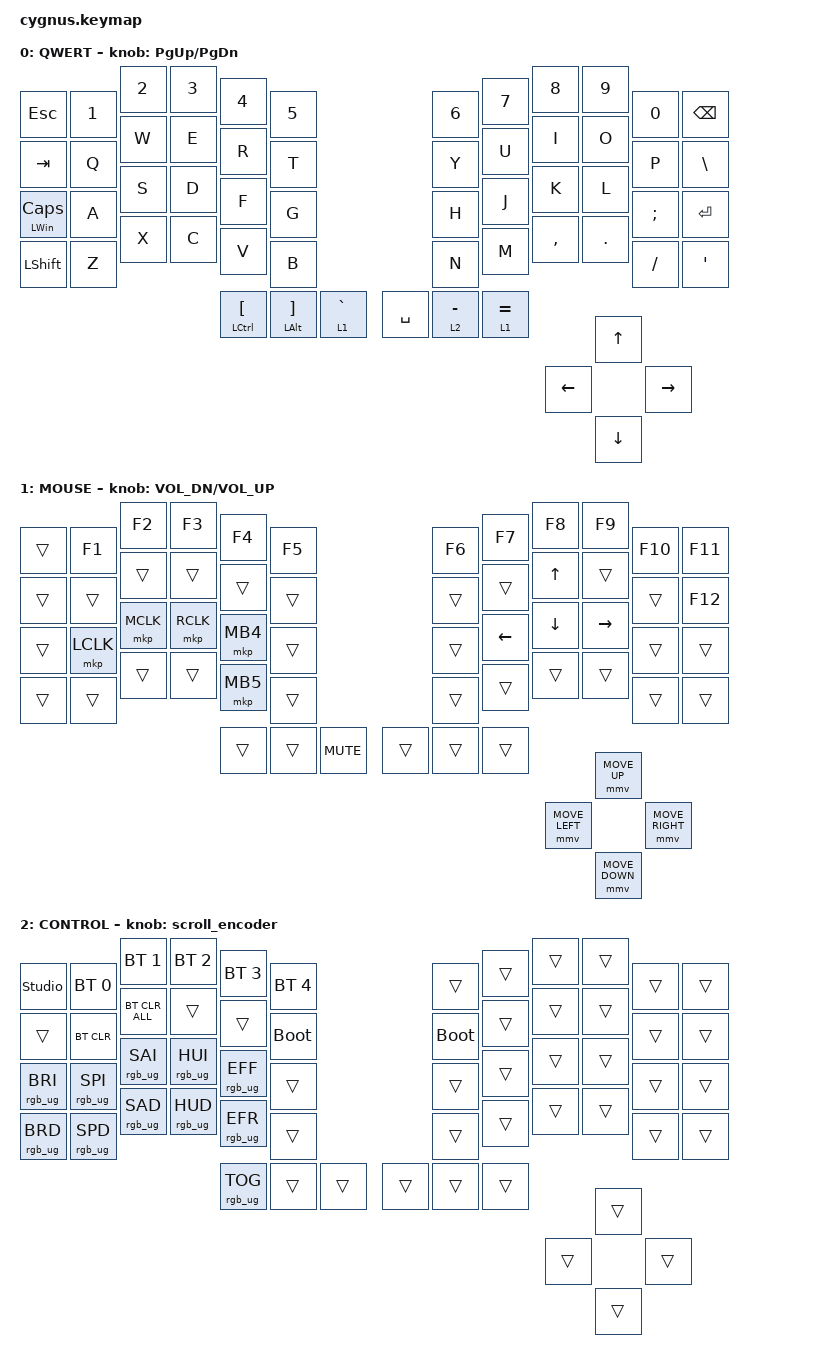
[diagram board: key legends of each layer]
#include <behaviors/mouse_keys.dtsi>
#include <dt-bindings/zmk/mouse.h>
#include <behaviors.dtsi>
#include <dt-bindings/zmk/bt.h>
#include <dt-bindings/zmk/keys.h>
#include <dt-bindings/zmk/pointing.h>
#include <dt-bindings/zmk/pointing.h>
#include <dt-bindings/zmk/pointing.h>
#include <dt-bindings/zmk/rgb.h>

#define ZMK_MOUSE_DEFAULT_MOVE_VAL 1200  // 600
#define ZMK_MOUSE_DEFAULT_SCRL_VAL 20    // 10
#define U_MS_U &mmv MOVE_UP
#define U_MS_D &mmv MOVE_DOWN
#define U_MS_L &mmv MOVE_LEFT
#define U_MS_R &mmv MOVE_RIGHT
#define ZMK_MOUSE_DEFAULT_MOVE_VAL 1200  //  600
#define ZMK_MOUSE_DEFAULT_SCRL_VAL 20    // 10

&lt {
    flavor = "tap-preferred";
    quick-tap-ms = <180>;
};

/ {
    behaviors {
        mmv {
            acceleration-exponent = <1>;      // 1
            time-to-max-speed-ms = <900>;    // 40
            delay-ms = <0>;                   // 0
        };

        msc {
            acceleration-exponent = <1>;      // 0
            time-to-max-speed-ms = <400>;      // 500
            delay-ms = <0>;                   //   10
        };
    };

    scroll_encoder: scroll_encoder {
        compatible = "zmk,behavior-sensor-rotate";
        #sensor-binding-cells = <0>;
        bindings = <&msc SCRL_DOWN>, <&msc SCRL_UP>;

        tap-ms = <30>;
    };

    keymap {
        compatible = "zmk,keymap";

        LAYER0 {
            bindings = <
&kp ESC        &kp N1  &kp N2  &kp N3          &kp N4         &kp N5       &kp N6     &kp N7       &kp N8       &kp N9    &kp N0    &kp BACKSPACE
&kp TAB        &kp Q   &kp W   &kp E           &kp R          &kp T        &kp Y      &kp U        &kp I        &kp O     &kp P     &kp BSLH
&mt LWIN CAPS  &kp A   &kp S   &kp D           &kp F          &kp G        &kp H      &kp J        &kp K        &kp L     &kp SEMI  &kp ENTER
&kp LSHIFT     &kp Z   &kp X   &kp C           &kp V          &kp B        &kp N      &kp M        &kp COMMA    &kp DOT   &kp FSLH  &kp SQT
                               &mt LCTRL LBKT  &mt LALT RBKT  &lt 1 GRAVE  &kp SPACE  &lt 2 MINUS  &lt 1 EQUAL  &kp LEFT  &kp DOWN  &kp RIGHT      &kp UP
            >;

            display-name = "QWERT";
            sensor-bindings = <&inc_dec_kp PG_UP PG_DN>;
        };

        layer_1 {
            bindings = <
&trans  &kp F1     &kp F2     &kp F3     &kp F4    &kp F5      &kp F6  &kp F7    &kp F8    &kp F9          &kp F10         &kp F11
&trans  &trans     &trans     &trans     &trans    &trans      &trans  &trans    &kp UP    &trans          &trans          &kp F12
&trans  &mkp LCLK  &mkp MCLK  &mkp RCLK  &mkp MB4  &trans      &trans  &kp LEFT  &kp DOWN  &kp RIGHT       &trans          &trans
&trans  &trans     &trans     &trans     &mkp MB5  &trans      &trans  &trans    &trans    &trans          &trans          &trans
                              &trans     &trans    &kp C_MUTE  &trans  &trans    &trans    &mmv MOVE_LEFT  &mmv MOVE_DOWN  &mmv MOVE_RIGHT  &mmv MOVE_UP
            >;

            display-name = "MOUSE";
            sensor-bindings = <&inc_dec_kp C_VOL_DN C_VOL_UP>;
        };

        layer_2 {
            display-name = "CONTROL";
            bindings = <
&studio_unlock   &bt BT_SEL 0     &bt BT_SEL 1     &bt BT_SEL 2     &bt BT_SEL 3     &bt BT_SEL 4  &trans       &trans  &trans  &trans  &trans  &trans
&trans           &bt BT_CLR       &bt BT_CLR_ALL   &trans           &trans           &bootloader   &bootloader  &trans  &trans  &trans  &trans  &trans
&rgb_ug RGB_BRI  &rgb_ug RGB_SPI  &rgb_ug RGB_SAI  &rgb_ug RGB_HUI  &rgb_ug RGB_EFF  &trans        &trans       &trans  &trans  &trans  &trans  &trans
&rgb_ug RGB_BRD  &rgb_ug RGB_SPD  &rgb_ug RGB_SAD  &rgb_ug RGB_HUD  &rgb_ug RGB_EFR  &trans        &trans       &trans  &trans  &trans  &trans  &trans
                                                   &rgb_ug RGB_TOG  &trans           &trans        &trans       &trans  &trans  &trans  &trans  &trans  &trans
            >;

            sensor-bindings = <&scroll_encoder>;
        };
    };
};
